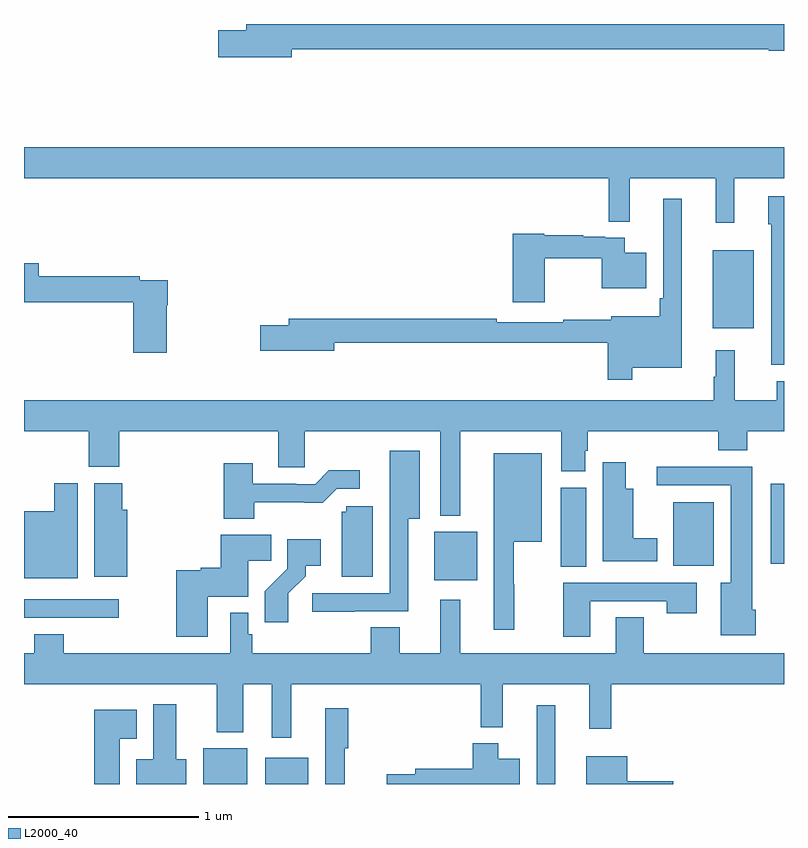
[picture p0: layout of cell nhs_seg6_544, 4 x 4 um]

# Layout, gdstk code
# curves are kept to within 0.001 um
import gdstk
lib = gdstk.Library(unit=1e-6, precision=1e-09)
def R(c, l, rs):  # rectangles x0, y0, x1, y1
    for r in rs: c.add(gdstk.rectangle(r[:2], r[2:], *l))
def P(c, l, *ps):  # polygons
    for p in ps: c.add(gdstk.Polygon(p, *l))
L2000_40 = (2000, 40)

nhs_seg6_544 = lib.new_cell('nhs_seg6_544')
R(nhs_seg6_544, L2000_40, [(145.943,925.5,146.176,925.687), (146.27,925.5,146.497,925.639), (147.699,925.5,147.796,925.915), (145,926.376,145.498,926.472), (147.158,926.573,147.385,926.827), (147.824,926.644,147.958,927.06), (148.418,926.648,148.63,926.983), (148.931,926.66,149,927.079), (148.625,927.899,148.84,928.309)])
P(nhs_seg6_544, L2000_40, [(146.41,929.368),(148.92,929.368),(148.92,929.36),(149,929.36),(149,929.5),(146.171,929.5),(146.171,929.468),(146.022,929.468),(146.022,929.326),(146.41,929.326)],
  [(148.738,928.688),(149,928.688),(149,928.852),(145,928.852),(145,928.688),(148.078,928.688),(148.078,928.459),(148.187,928.459),(148.187,928.688),(148.64,928.688),(148.64,928.455),(148.738,928.455)],
  [(149,928.594),(148.916,928.594),(148.916,928.446),(148.934,928.446),(148.934,927.707),(149,927.707)],
  [(148.201,927.692),(148.462,927.692),(148.462,928.579),(148.365,928.579),(148.365,928.057),(148.345,928.057),(148.345,927.961),(148.091,927.961),(148.091,927.943),(147.838,927.943),(147.838,927.93),(147.488,927.93),(147.488,927.95),(146.393,927.95),(146.393,927.914),(146.244,927.914),(146.244,927.779),(146.632,927.779),(146.632,927.822),(148.072,927.822),(148.072,927.627),(148.201,927.627)],
  [(147.742,928.266),(148.04,928.266),(148.04,928.109),(148.276,928.109),(148.276,928.297),(148.162,928.297),(148.162,928.374),(148.058,928.374),(148.058,928.38),(147.944,928.38),(147.944,928.387),(147.738,928.387),(147.738,928.395),(147.572,928.395),(147.572,928.035),(147.742,928.035)],
  [(145.752,928.019),(145.757,928.019),(145.757,928.152),(145.61,928.152),(145.61,928.172),(145.078,928.172),(145.078,928.24),(145,928.24),(145,928.036),(145.574,928.036),(145.574,927.771),(145.752,927.771)],
  [(147.295,927.356),(147.827,927.356),(147.827,927.145),(147.955,927.145),(147.955,927.255),(147.968,927.255),(147.968,927.356),(148.655,927.356),(148.655,927.257),(148.807,927.257),(148.807,927.356),(149,927.356),(149,927.619),(148.961,927.619),(148.961,927.52),(148.74,927.52),(148.74,927.784),(148.64,927.784),(148.64,927.644),(148.629,927.644),(148.629,927.52),(145,927.52),(145,927.356),(145.342,927.356),(145.342,927.169),(145.502,927.169),(145.502,927.356),(146.339,927.356),(146.339,927.166),(146.478,927.166),(146.478,927.356),(147.191,927.356),(147.191,926.912),(147.295,926.912)],
  [(146.741,926.409),(147.022,926.409),(147.022,926.897),(147.082,926.897),(147.082,927.253),(146.924,927.253),(146.924,927.001),(146.925,927.001),(146.925,926.505),(146.517,926.505),(146.517,926.407),(146.741,926.407)],
  [(147.58,926.552),(147.577,926.552),(147.577,926.774),(147.724,926.774),(147.724,927.241),(147.473,927.241),(147.473,926.313),(147.58,926.313)],
  [(148.333,926.794),(148.207,926.794),(148.207,927.055),(148.168,927.055),(148.168,927.193),(148.046,927.193),(148.046,926.672),(148.333,926.672)],
  [(146.211,926.982),(146.573,926.981),(146.646,927.054),(146.767,927.054),(146.767,927.151),(146.605,927.151),(146.532,927.078),(146.432,927.078),(146.432,927.081),(146.203,927.081),(146.203,927.187),(146.051,927.187),(146.051,926.897),(146.211,926.897)],
  [(148.852,926.418),(148.834,926.418),(148.834,927.17),(148.329,927.17),(148.329,927.072),(148.721,927.072),(148.721,926.56),(148.667,926.56),(148.667,926.282),(148.852,926.282)],
  [(145.543,926.944),(145.517,926.944),(145.517,927.084),(145.37,927.084),(145.37,926.592),(145.543,926.592)],
  [(145.282,927.082),(145.16,927.082),(145.16,926.935),(145,926.935),(145,926.582),(145.282,926.582)],
  [(146.836,926.961),(146.697,926.961),(146.697,926.934),(146.672,926.934),(146.672,926.59),(146.836,926.59)],
  [(145.966,926.486),(146.179,926.486),(146.179,926.674),(146.3,926.674),(146.3,926.812),(146.035,926.812),(146.035,926.639),(145.929,926.639),(145.929,926.626),(145.801,926.626),(145.801,926.274),(145.966,926.274)],
  [(146.392,926.503),(146.482,926.593),(146.482,926.648),(146.563,926.648),(146.563,926.788),(146.385,926.788),(146.385,926.633),(146.266,926.514),(146.266,926.352),(146.392,926.352)],
  [(147.979,926.463),(148.384,926.463),(148.384,926.4),(148.54,926.4),(148.54,926.559),(147.839,926.559),(147.839,926.274),(147.979,926.274)],
  [(146.407,926.024),(147.403,926.024),(147.403,925.799),(147.521,925.799),(147.521,926.024),(147.974,926.024),(147.974,925.791),(148.091,925.791),(148.091,926.024),(149,926.024),(149,926.188),(148.263,926.188),(148.263,926.378),(148.115,926.378),(148.115,926.188),(147.295,926.188),(147.295,926.47),(147.191,926.47),(147.191,926.188),(146.977,926.188),(146.977,926.324),(146.825,926.324),(146.825,926.188),(146.201,926.188),(146.201,926.289),(146.181,926.289),(146.181,926.401),(146.085,926.401),(146.085,926.188),(145.208,926.188),(145.208,926.287),(145.055,926.287),(145.055,926.188),(145,926.188),(145,926.024),(146.015,926.024),(146.015,925.772),(146.155,925.772),(146.155,926.024),(146.303,926.024),(146.303,925.743),(146.407,925.743)],
  [(145.855,925.63),(145.801,925.63),(145.801,925.921),(145.679,925.921),(145.679,925.63),(145.592,925.63),(145.592,925.5),(145.855,925.5)],
  [(146.689,925.687),(146.707,925.687),(146.707,925.9),(146.585,925.9),(146.585,925.5),(146.689,925.5)],
  [(145.504,925.739),(145.594,925.739),(145.594,925.891),(145.37,925.891),(145.37,925.5),(145.504,925.5)],
  [(147.61,925.633),(147.496,925.633),(147.496,925.714),(147.362,925.714),(147.362,925.581),(147.059,925.581),(147.059,925.551),(146.91,925.551),(146.91,925.5),(147.61,925.5)],
  [(148.417,925.514),(148.174,925.514),(148.174,925.645),(147.959,925.645),(147.959,925.5),(148.417,925.5)])

lib.write_gds('nhs_seg6_544.gds')
